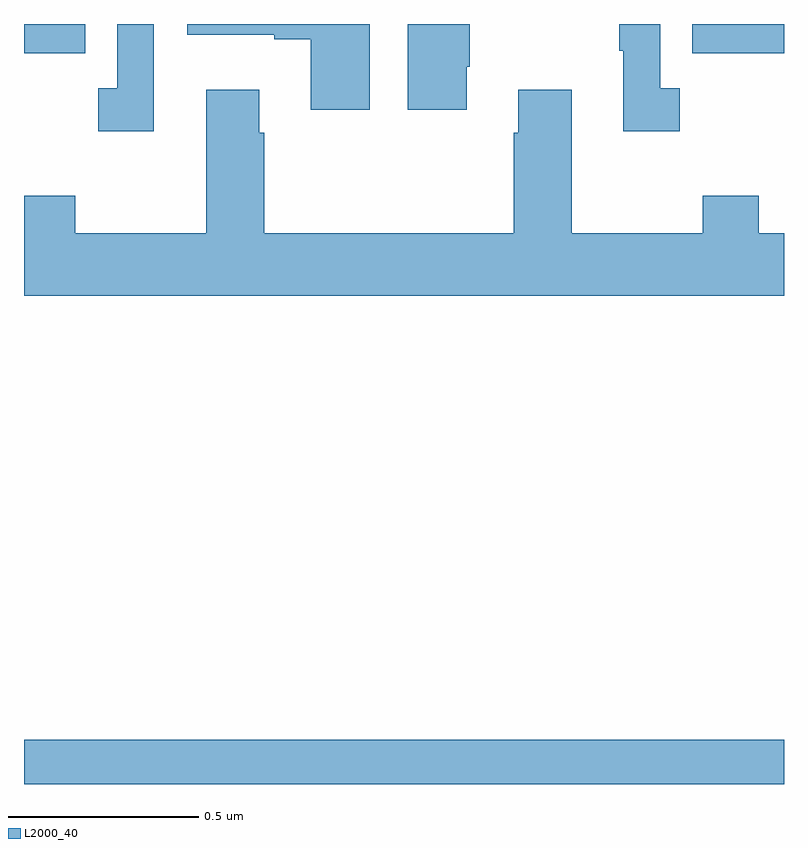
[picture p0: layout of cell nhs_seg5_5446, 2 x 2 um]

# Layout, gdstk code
import gdstk
lib = gdstk.Library(unit=1e-6, precision=1e-09)
def R(c, l, rs):  # rectangles x0, y0, x1, y1
    for r in rs: c.add(gdstk.rectangle(r[:2], r[2:], *l))
def P(c, l, *ps):  # polygons
    for p in ps: c.add(gdstk.Polygon(p, *l))
L2000_40 = (2000, 40)

nhs_seg5_5446 = lib.new_cell('nhs_seg5_5446')
R(nhs_seg5_5446, L2000_40, [(183,864.799,185,864.916), (183,866.722,183.161,866.799), (184.759,866.722,185,866.799)])
P(nhs_seg5_5446, L2000_40, [(184.726,866.63),(184.674,866.63),(184.674,866.799),(184.566,866.799),(184.566,866.729),(184.577,866.729),(184.577,866.517),(184.726,866.517)],
  [(183.91,866.799),(183.429,866.799),(183.429,866.771),(183.659,866.771),(183.659,866.759),(183.755,866.759),(183.755,866.574),(183.91,866.574)],
  [(184.165,866.686),(184.173,866.686),(184.173,866.799),(184.01,866.799),(184.01,866.574),(184.165,866.574)],
  [(183.342,866.799),(183.246,866.799),(183.246,866.63),(183.195,866.63),(183.195,866.517),(183.342,866.517)],
  [(185,866.248),(184.933,866.248),(184.933,866.347),(184.786,866.347),(184.786,866.248),(184.441,866.248),(184.441,866.626),(184.301,866.626),(184.301,866.513),(184.289,866.513),(184.289,866.248),(183.632,866.248),(183.632,866.513),(183.619,866.513),(183.619,866.626),(183.479,866.626),(183.479,866.248),(183.135,866.248),(183.135,866.347),(183,866.347),(183,866.084),(185,866.084)])

lib.write_gds('nhs_seg5_5446.gds')
